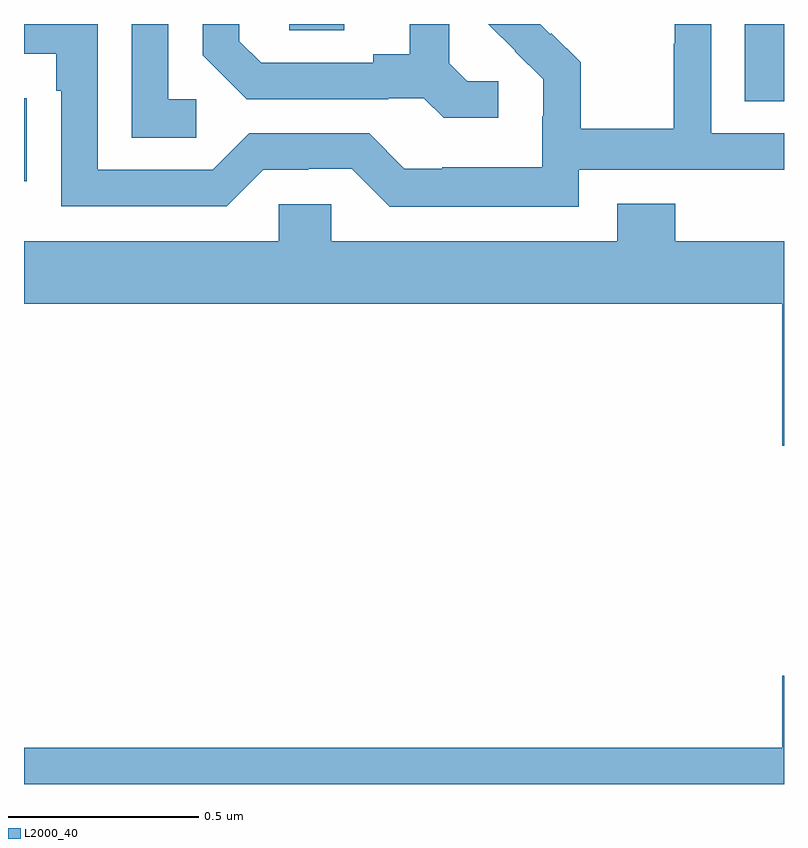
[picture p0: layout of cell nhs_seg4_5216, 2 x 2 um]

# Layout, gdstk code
import gdstk
lib = gdstk.Library(unit=1e-6, precision=1e-09)
def R(c, l, rs):  # rectangles x0, y0, x1, y1
    for r in rs: c.add(gdstk.rectangle(r[:2], r[2:], *l))
def P(c, l, *ps):  # polygons
    for p in ps: c.add(gdstk.Polygon(p, *l))
L2000_40 = (2000, 40)

nhs_seg4_5216 = lib.new_cell('nhs_seg4_5216')
R(nhs_seg4_5216, L2000_40, [(175,786.486,175.007,786.704), (176.897,786.697,177,786.9), (175.698,786.883,175.843,786.9)])
P(nhs_seg4_5216, L2000_40, [(176.248,786.75),(176.166,786.75),(176.119,786.797),(176.119,786.9),(176.015,786.9),(176.015,786.821),(175.919,786.821),(175.919,786.798),(175.624,786.798),(175.567,786.855),(175.567,786.9),(175.47,786.9),(175.47,786.818),(175.586,786.702),(175.958,786.702),(175.958,786.705),(176.052,786.705),(176.104,786.653),(176.248,786.653)],
  [(176.46,786.516),(177,786.516),(177,786.612),(176.808,786.612),(176.808,786.9),(176.712,786.9),(176.712,786.848),(176.71,786.848),(176.71,786.625),(176.465,786.625),(176.465,786.799),(176.388,786.876),(176.385,786.873),(176.358,786.9),(176.222,786.9),(176.293,786.829),(176.292,786.828),(176.366,786.754),(176.366,786.657),(176.364,786.657),(176.364,786.523),(176.101,786.523),(176.101,786.519),(176.001,786.519),(175.908,786.612),(175.593,786.612),(175.497,786.516),(175.194,786.516),(175.194,786.9),(175,786.9),(175,786.822),(175.085,786.822),(175.085,786.725),(175.098,786.725),(175.098,786.42),(175.533,786.42),(175.629,786.516),(175.748,786.516),(175.748,786.519),(175.863,786.519),(175.963,786.419),(176.46,786.419)],
  [(175.453,786.702),(175.38,786.702),(175.38,786.9),(175.284,786.9),(175.284,786.601),(175.453,786.601)],
  [(177,786.328),(176.714,786.328),(176.714,786.427),(176.561,786.427),(176.561,786.328),(175.809,786.328),(175.809,786.426),(175.671,786.426),(175.671,786.328),(175,786.328),(175,786.164),(176.996,786.164),(176.996,785.79),(177,785.79)],
  [(177,785.185),(176.996,785.185),(176.996,784.996),(175,784.996),(175,784.9),(177,784.9)])

lib.write_gds('nhs_seg4_5216.gds')
